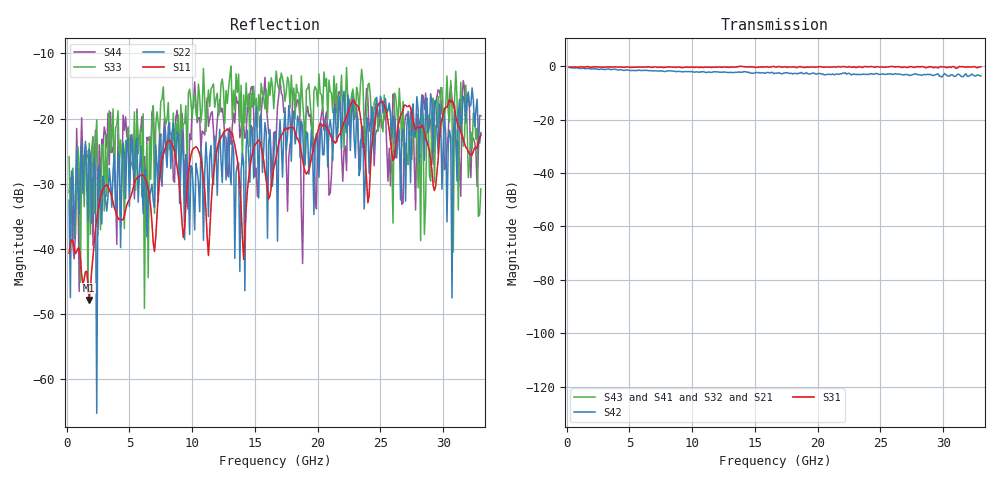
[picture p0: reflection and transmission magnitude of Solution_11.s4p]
# GHZ S RI R 50
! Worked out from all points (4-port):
!   329 points, 200 MHz to 33 GHz, reference 50 ohm
!   strongest paths, dB at 200 MHz, 8.4 GHz, 16.6 GHz, 24.8 GHz, 33 GHz:
!     S31: -0.4, -0.4, -0.3, -0.2, -0.2
!     S42: -0.5, -1.9, -2.7, -2.9, -3.7
!     S43: -, -, -, -, -
!     S41: -, -, -, -, -
!     S32: -, -, -, -, -
!     S21: -, -, -, -, -
!   lowest |S11| = -47.9 dB at 1.8 GHz (marker M1), VSWR 1.01, Z = 49.7 + j0.311 ohm
!   |S11| at or under -10 dB: start of sweep to end of sweep
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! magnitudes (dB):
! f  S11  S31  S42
! 200 MHz  -40.7  -0.4  -0.5
! 1.8 GHz  -47.9  -0.3  -0.9
! 2.3 GHz  -37.0  -0.3  -1.0
! 2.4 GHz  -35.3  -0.3  -1.1
! 2.5 GHz  -34.2  -0.3  -1.2
! 5.2 GHz  -31.4  -0.5  -1.6
! 33 GHz  -22.5  -0.2  -3.7
